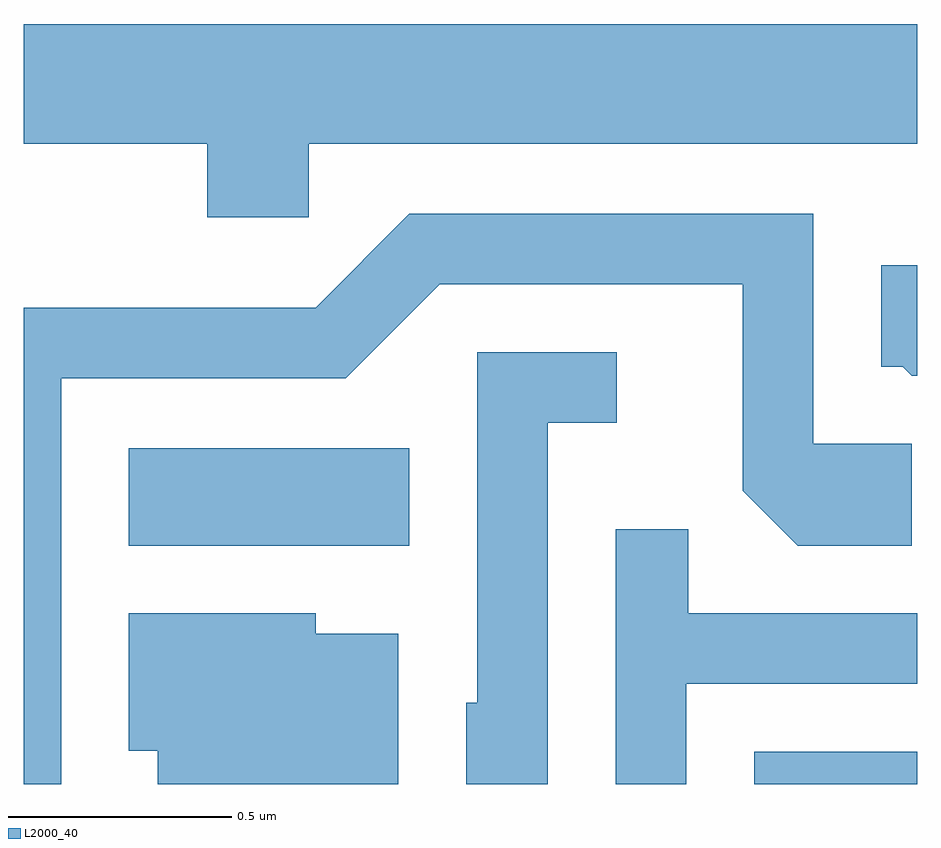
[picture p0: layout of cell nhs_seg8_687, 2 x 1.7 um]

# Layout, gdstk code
import gdstk
lib = gdstk.Library(unit=1e-6, precision=1e-09)
def R(c, l, rs):  # rectangles x0, y0, x1, y1
    for r in rs: c.add(gdstk.rectangle(r[:2], r[2:], *l))
def P(c, l, *ps):  # polygons
    for p in ps: c.add(gdstk.Polygon(p, *l))
L2000_40 = (2000, 40)

nhs_seg8_687 = lib.new_cell('nhs_seg8_687')
R(nhs_seg8_687, L2000_40, [(192.246,1808.342,192.611,1808.414), (190.846,1808.876,191.474,1809.094)])
P(nhs_seg8_687, L2000_40, [(191.249,1809.776),(192.611,1809.776),(192.611,1810.044),(190.611,1810.044),(190.611,1809.776),(191.021,1809.776),(191.021,1809.611),(191.249,1809.611)],
  [(190.694,1809.251),(191.332,1809.251),(191.542,1809.461),(192.221,1809.461),(192.221,1808.999),(192.344,1808.876),(192.599,1808.876),(192.599,1809.104),(192.379,1809.104),(192.379,1809.619),(191.474,1809.619),(191.264,1809.409),(190.611,1809.409),(190.611,1808.342),(190.694,1808.342)],
  [(192.611,1809.504),(192.531,1809.504),(192.531,1809.276),(192.579,1809.276),(192.599,1809.256),(192.611,1809.256)],
  [(191.784,1809.151),(191.938,1809.151),(191.938,1809.309),(191.626,1809.309),(191.626,1808.524),(191.601,1808.524),(191.601,1808.342),(191.784,1808.342)],
  [(192.094,1808.566),(192.611,1808.566),(192.611,1808.724),(192.099,1808.724),(192.099,1808.913),(191.936,1808.913),(191.936,1808.342),(192.094,1808.342)],
  [(191.449,1808.679),(191.264,1808.679),(191.264,1808.724),(190.846,1808.724),(190.846,1808.416),(190.911,1808.416),(190.911,1808.342),(191.449,1808.342)])

lib.write_gds('nhs_seg8_687.gds')
